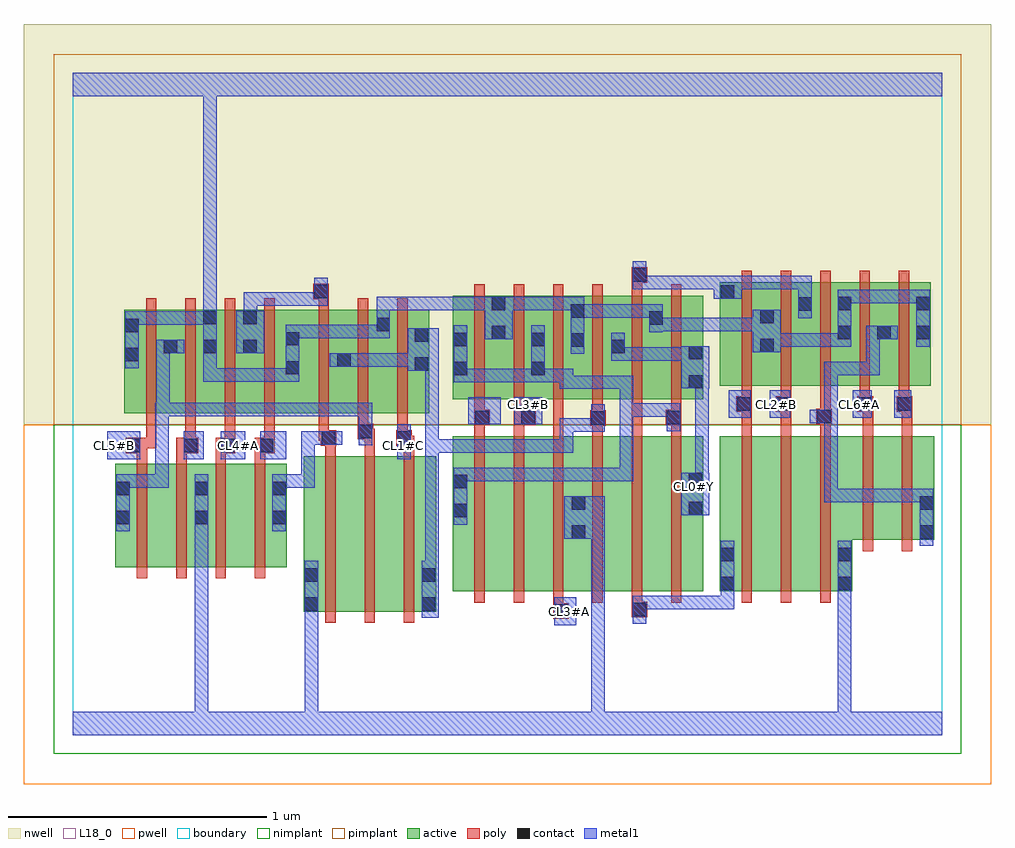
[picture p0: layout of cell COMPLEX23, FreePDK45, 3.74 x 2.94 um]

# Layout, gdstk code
import gdstk
lib = gdstk.Library(unit=1e-6, precision=1e-09)
def R(c, l, rs):  # rectangles x0, y0, x1, y1
    for r in rs: c.add(gdstk.rectangle(r[:2], r[2:], *l))
def A(c, l, x, y, w, h, nx, ny, dx, dy):  # array of equal rectangles
    R(c, l, [(x+i*dx, y+j*dy, x+i*dx+w, y+j*dy+h) for i in range(nx) for j in range(ny)])
active = (1, 0)
pwell = (2, 0)
nwell = (3, 0)
nimplant = (4, 0)
pimplant = (5, 0)
poly = (9, 0)
contact = (10, 0)
metal1 = (11, 0)
L18_0 = (18, 0)
boundary = (235, 0)

complex23 = lib.new_cell('COMPLEX23')
A(complex23, active, 2.8, 1.35, 0.212, 0.4, 3, 1, 0.152, 0)
R(complex23, active, [(0.892,0.478,1.072,1.078), (0.892,0.478,0.952,1.078), (1.072,0.478,1.224,1.078), (1.224,0.478,1.404,1.078), (1.344,0.478,1.404,1.078), (1.468,0.556,1.648,1.156), (1.468,0.556,1.528,1.156), (1.648,0.556,1.8,1.156), (1.8,0.556,1.984,1.156), (1.924,0.556,2.104,1.156), (1.924,0.556,1.984,0.928), (2.104,0.556,2.256,1.156), (2.256,0.556,2.436,1.156), (2.376,0.556,2.436,1.156), (2.5,0.556,2.68,1.156), (2.5,0.556,2.56,1.156), (2.68,0.556,2.832,1.156), (2.832,0.556,3.012,1.156), (2.952,0.556,3.012,0.828), (0.164,0.65,0.344,1.05), (0.344,0.65,0.528,1.05), (0.468,0.65,0.648,1.05), (0.648,0.65,0.828,1.05), (0.164,0.756,0.224,1.05), (0.468,0.756,0.528,0.984), (0.768,0.756,0.828,1.05), (2.952,0.756,3.148,1.156), (3.148,0.756,3.328,1.156), (3.268,0.756,3.328,1.156), (0.2,1.244,0.26,1.644), (0.2,1.244,0.408,1.644), (0.348,1.244,0.56,1.644), (0.5,1.244,0.716,1.644), (0.656,1.244,0.88,1.644), (0.82,1.244,1.078,1.644), (1.018,1.244,1.23,1.644), (1.17,1.244,1.378,1.644), (1.318,1.244,1.378,1.644), (1.468,1.298,1.528,1.698), (1.468,1.298,1.676,1.698), (1.616,1.298,1.828,1.698), (1.768,1.298,1.98,1.698), (1.92,1.298,2.136,1.698), (2.076,1.298,2.284,1.698), (2.224,1.298,2.436,1.698), (2.376,1.298,2.436,1.644), (1.616,1.31,1.676,1.698), (1.92,1.31,1.98,1.698), (2.5,1.35,2.712,1.75), (2.652,1.35,2.86,1.75), (2.952,1.35,3.012,1.75), (3.256,1.35,3.316,1.75), (1.768,1.388,1.828,1.644), (0.82,1.39,0.88,1.644), (2.8,1.4,2.86,1.75), (1.018,1.42,1.078,1.644), (0.348,1.472,0.408,1.644), (0.5,1.472,0.56,1.644), (0.656,1.472,0.716,1.644), (2.076,1.472,2.136,1.644), (2.652,1.476,2.712,1.75), (3.104,1.526,3.164,1.644), (1.17,1.558,1.23,1.644), (2.5,1.572,2.56,1.75), (2.224,1.582,2.284,1.644)])
R(complex23, pwell, [(-0.188,-0.188,3.548,1.2)])
R(complex23, nwell, [(-0.188,1.2,3.548,2.748)])
R(complex23, nimplant, [(-0.072,-0.072,3.432,1.2)])
R(complex23, pimplant, [(-0.072,1.2,3.432,2.632)])
A(complex23, poly, 0.976, 0.434, 0.04, 0.688, 3, 1, 0.152, 0)
A(complex23, poly, 1.552, 0.512, 0.04, 0.688, 6, 1, 0.152, 0)
A(complex23, poly, 2.584, 0.512, 0.04, 0.688, 3, 1, 0.152, 0)
A(complex23, poly, 0.248, 0.606, 0.04, 0.488, 4, 1, 0.152, 0)
A(complex23, poly, 0.248, 1.054, 0.04, 0.076, 4, 1, 0.152, 0)
A(complex23, poly, 0.284, 1.11, 0.04, 0.13, 4, 1, 0.152, 0)
A(complex23, poly, 0.284, 1.2, 0.04, 0.488, 4, 1, 0.152, 0)
A(complex23, poly, 0.95, 1.2, 0.04, 0.488, 3, 1, 0.152, 0)
A(complex23, poly, 1.552, 1.218, 0.04, 0.076, 3, 1, 0.152, 0)
A(complex23, poly, 1.552, 1.254, 0.04, 0.488, 6, 1, 0.152, 0)
A(complex23, poly, 2.584, 1.306, 0.04, 0.488, 5, 1, 0.152, 0)
R(complex23, poly, [(1.856,0.45,1.916,0.51), (2.16,0.456,2.22,0.516), (1.856,0.47,1.896,0.552), (2.16,0.476,2.2,0.552), (3.052,0.712,3.092,1.2), (3.204,0.712,3.244,1.2), (0.976,1.082,1.016,1.158), (1.128,1.082,1.168,1.184), (1.28,1.082,1.32,1.158), (0.206,1.09,0.288,1.15), (0.4,1.09,0.486,1.15), (0.552,1.09,0.628,1.15), (0.704,1.09,0.78,1.15), (0.248,1.11,0.288,1.15), (0.248,1.11,0.324,1.15), (0.436,1.11,0.476,1.15), (0.436,1.11,0.476,1.15), (0.588,1.11,0.628,1.15), (0.588,1.11,0.628,1.15), (0.74,1.11,0.78,1.15), (0.74,1.11,0.78,1.15), (0.958,1.118,1.018,1.178), (1.25,1.118,1.31,1.178), (1.27,1.118,1.31,1.158), (1.27,1.118,1.32,1.158), (0.95,1.138,0.99,1.24), (0.95,1.138,0.998,1.178), (0.958,1.138,0.998,1.178), (1.254,1.138,1.294,1.24), (1.102,1.144,1.162,1.204), (1.122,1.144,1.162,1.184), (1.122,1.144,1.168,1.184), (1.552,1.16,1.592,1.238), (1.704,1.16,1.744,1.238), (1.856,1.16,1.896,1.258), (2.008,1.16,2.048,1.236), (2.16,1.16,2.2,1.258), (2.312,1.16,2.352,1.238), (2.584,1.16,2.624,1.29), (2.736,1.16,2.776,1.29), (2.888,1.16,2.928,1.242), (3.052,1.16,3.092,1.29), (3.204,1.16,3.244,1.29), (1.102,1.164,1.142,1.24), (2,1.196,2.06,1.256), (1.552,1.198,1.592,1.238), (1.552,1.198,1.592,1.238), (1.552,1.198,1.612,1.258), (1.704,1.198,1.744,1.238), (1.704,1.198,1.744,1.238), (1.704,1.198,1.79,1.258), (2.292,1.198,2.352,1.258), (2.312,1.198,2.352,1.238), (2.312,1.198,2.352,1.238), (2.872,1.202,2.932,1.262), (2.008,1.216,2.048,1.256), (2.008,1.216,2.048,1.256), (2.008,1.216,2.048,1.294), (1.856,1.218,1.896,1.258), (1.856,1.218,1.896,1.258), (1.856,1.218,1.896,1.258), (2.16,1.218,2.2,1.294), (2.16,1.218,2.2,1.258), (2.16,1.218,2.2,1.258), (2.16,1.218,2.2,1.258), (2.312,1.218,2.352,1.294), (2.888,1.222,2.928,1.262), (2.888,1.222,2.928,1.262), (2.888,1.222,2.928,1.346), (2.564,1.25,2.624,1.31), (2.584,1.25,2.624,1.29), (2.584,1.25,2.624,1.29), (2.716,1.25,2.776,1.31), (3.032,1.25,3.092,1.31), (3.184,1.25,3.244,1.31), (3.204,1.25,3.244,1.29), (3.204,1.25,3.244,1.29), (2.584,1.27,2.624,1.346), (2.736,1.27,2.776,1.346), (2.736,1.27,2.776,1.31), (2.736,1.27,2.776,1.31), (3.04,1.27,3.08,1.346), (3.04,1.27,3.08,1.31), (3.04,1.27,3.08,1.31), (3.192,1.27,3.232,1.346), (0.95,1.648,0.99,1.724), (0.93,1.684,0.99,1.744), (2.16,1.702,2.2,1.788), (2.16,1.748,2.22,1.808)])
A(complex23, contact, 2.956, 1.53, 0.052, 0.052, 3, 1, 0.152, 0)
R(complex23, contact, [(1.86,0.454,1.912,0.506), (2.164,0.46,2.216,0.512), (0.896,0.482,0.948,0.534), (1.348,0.482,1.4,0.534), (2.504,0.56,2.556,0.612), (2.956,0.56,3.008,0.612), (0.896,0.594,0.948,0.646), (1.348,0.594,1.4,0.646), (2.504,0.672,2.556,0.724), (2.956,0.672,3.008,0.724), (1.928,0.76,1.98,0.812), (3.272,0.76,3.324,0.812), (0.168,0.816,0.22,0.868), (0.472,0.816,0.524,0.868), (0.772,0.816,0.824,0.868), (1.472,0.842,1.524,0.894), (2.38,0.85,2.432,0.902), (1.928,0.872,1.98,0.924), (3.272,0.872,3.324,0.924), (0.168,0.928,0.22,0.98), (0.472,0.928,0.524,0.98), (0.772,0.928,0.824,0.98), (1.472,0.954,1.524,1.006), (2.38,0.962,2.432,1.014), (0.21,1.094,0.262,1.146), (0.43,1.094,0.482,1.146), (0.572,1.094,0.624,1.146), (0.724,1.094,0.776,1.146), (0.962,1.122,1.014,1.174), (1.254,1.122,1.306,1.174), (1.106,1.148,1.158,1.2), (2.004,1.2,2.056,1.252), (1.556,1.202,1.608,1.254), (1.734,1.202,1.786,1.254), (2.296,1.202,2.348,1.254), (2.876,1.206,2.928,1.258), (2.568,1.254,2.62,1.306), (2.72,1.254,2.772,1.306), (3.036,1.254,3.088,1.306), (3.188,1.254,3.24,1.306), (2.38,1.34,2.432,1.392), (1.472,1.392,1.524,1.444), (1.772,1.392,1.824,1.444), (0.824,1.394,0.876,1.446), (1.322,1.408,1.374,1.46), (1.022,1.424,1.074,1.476), (0.204,1.446,0.256,1.498), (2.38,1.452,2.432,1.504), (0.352,1.476,0.404,1.528), (0.504,1.476,0.556,1.528), (0.66,1.476,0.712,1.528), (2.08,1.476,2.132,1.528), (2.656,1.48,2.708,1.532), (1.924,1.502,1.976,1.554), (1.472,1.504,1.524,1.556), (1.772,1.504,1.824,1.556), (0.824,1.506,0.876,1.558), (1.322,1.52,1.374,1.572), (1.62,1.53,1.672,1.582), (0.204,1.558,0.256,1.61), (1.174,1.562,1.226,1.614), (2.228,1.586,2.28,1.638), (0.504,1.588,0.556,1.64), (0.66,1.588,0.712,1.64), (2.656,1.592,2.708,1.644), (1.924,1.614,1.976,1.666), (2.804,1.64,2.856,1.692), (1.62,1.642,1.672,1.694), (2.956,1.642,3.008,1.694), (3.26,1.642,3.312,1.694), (2.504,1.686,2.556,1.738), (0.934,1.688,0.986,1.74), (2.164,1.752,2.216,1.804)])
R(complex23, metal1, [(0,0,3.36,0.092), (0.472,0.04,0.524,0.84), (0.896,0.04,0.948,0.092), (0.896,0.04,0.948,0.092), (0.896,0.04,0.948,0.506), (2.004,0.04,2.056,0.092), (2.004,0.04,2.056,0.092), (2.004,0.04,2.056,0.092), (2.004,0.04,2.056,0.092), (2.004,0.04,2.056,0.092), (2.004,0.04,2.056,0.092), (2.004,0.04,2.056,0.092), (2.004,0.04,2.056,0.092), (2.004,0.04,2.056,0.812), (2.956,0.04,3.008,0.092), (2.956,0.04,3.008,0.092), (2.956,0.04,3.008,0.092), (2.956,0.04,3.008,0.092), (2.956,0.04,3.008,0.584), (1.86,0.426,1.946,0.534), (2.164,0.432,2.216,0.54), (0.896,0.454,0.948,0.506), (0.896,0.454,0.948,0.506), (0.896,0.454,0.948,0.506), (0.896,0.454,0.948,0.506), (0.896,0.454,0.948,0.506), (0.896,0.454,0.948,0.506), (0.896,0.454,0.948,0.674), (1.348,0.454,1.414,0.674), (2.164,0.488,2.28,0.54), (2.228,0.488,2.28,0.54), (2.228,0.488,2.418,0.54), (2.366,0.488,2.418,0.54), (2.366,0.488,2.418,0.54), (2.366,0.488,2.418,0.54), (2.366,0.488,2.556,0.54), (2.504,0.488,2.556,0.54), (2.504,0.488,2.556,0.584), (2.504,0.532,2.556,0.752), (2.956,0.532,3.008,0.584), (2.956,0.532,3.008,0.584), (2.956,0.532,3.008,0.584), (2.956,0.532,3.008,0.584), (2.956,0.532,3.008,0.752), (1.362,0.622,1.414,1.144), (3.272,0.732,3.324,0.952), (1.9,0.76,2.056,0.924), (0.168,0.788,0.22,1.008), (0.472,0.788,0.524,0.84), (0.472,0.788,0.524,0.84), (0.472,0.788,0.524,0.84), (0.472,0.788,0.524,0.84), (0.472,0.788,0.524,0.84), (0.472,0.788,0.524,0.84), (0.472,0.788,0.524,0.84), (0.472,0.788,0.524,0.84), (0.472,0.788,0.524,0.84), (0.472,0.788,0.524,0.84), (0.472,0.788,0.524,0.84), (0.472,0.788,0.524,0.84), (0.472,0.788,0.524,1.008), (0.772,0.788,0.824,1.008), (1.472,0.814,1.524,1.034), (2.352,0.85,2.46,1.014), (2.904,0.9,2.956,0.952), (2.904,0.9,3.116,0.952), (2.904,0.9,2.956,1.258), (3.064,0.9,3.116,0.952), (3.064,0.9,3.118,0.952), (3.066,0.9,3.118,0.952), (3.066,0.9,3.324,0.952), (3.272,0.9,3.324,0.952), (3.272,0.9,3.324,0.952), (0.168,0.956,0.22,1.008), (0.168,0.956,0.22,1.008), (0.168,0.956,0.372,1.008), (0.32,0.956,0.372,1.008), (0.32,0.956,0.372,1.284), (0.772,0.956,0.936,1.008), (0.884,0.956,0.936,1.008), (0.884,0.956,0.936,1.174), (2.406,0.962,2.458,1.014), (2.406,0.962,2.458,1.014), (2.406,0.962,2.458,1.014), (2.406,0.962,2.458,1.014), (2.406,0.962,2.458,1.014), (2.406,0.962,2.458,1.014), (2.406,0.962,2.458,1.014), (2.406,0.962,2.458,1.014), (2.406,0.962,2.458,1.014), (2.406,0.962,2.458,1.014), (2.406,0.962,2.458,1.392), (1.472,0.982,1.526,1.034), (1.474,0.982,1.526,1.034), (1.474,0.982,1.7,1.034), (1.648,0.982,1.7,1.034), (1.648,0.982,1.7,1.034), (1.648,0.982,1.7,1.034), (1.648,0.982,1.81,1.034), (1.758,0.982,1.81,1.034), (1.758,0.982,1.81,1.034), (1.758,0.982,1.81,1.034), (1.758,0.982,2.022,1.034), (1.97,0.982,2.022,1.034), (1.97,0.982,2.056,1.034), (2.004,0.982,2.056,1.034), (2.004,0.982,2.166,1.034), (2.114,0.982,2.166,1.034), (2.114,0.982,2.166,1.282), (0.134,1.066,0.262,1.174), (0.43,1.066,0.506,1.174), (0.572,1.066,0.666,1.174), (0.724,1.066,0.826,1.174), (1.254,1.066,1.306,1.202), (1.362,1.092,1.414,1.144), (1.362,1.092,1.414,1.144), (1.362,1.092,1.416,1.144), (1.362,1.092,1.414,1.46), (1.364,1.092,1.416,1.144), (1.364,1.092,1.416,1.144), (1.364,1.092,1.526,1.144), (1.474,1.092,1.526,1.144), (1.474,1.092,1.7,1.144), (1.648,1.092,1.7,1.144), (1.648,1.092,1.7,1.144), (1.648,1.092,1.7,1.144), (1.648,1.092,1.81,1.144), (1.758,1.092,1.81,1.144), (1.758,1.092,1.934,1.144), (1.882,1.092,1.934,1.144), (1.882,1.092,1.934,1.144), (1.882,1.092,1.934,1.224), (1.106,1.12,1.158,1.284), (0.884,1.122,0.936,1.174), (0.884,1.122,0.986,1.174), (0.934,1.122,1.042,1.174), (1.882,1.172,2.056,1.224), (2.004,1.172,2.056,1.28), (2.296,1.174,2.348,1.282), (1.528,1.202,1.654,1.306), (1.706,1.202,1.814,1.306), (2.848,1.206,2.956,1.258), (2.904,1.206,2.956,1.258), (2.904,1.206,2.956,1.258), (2.904,1.206,2.956,1.444), (2.534,1.226,2.62,1.334), (2.694,1.226,2.772,1.334), (3.014,1.226,3.088,1.334), (3.174,1.226,3.24,1.334), (2.114,1.23,2.166,1.282), (2.114,1.23,2.166,1.282), (2.114,1.23,2.166,1.282), (2.114,1.23,2.166,1.282), (2.114,1.23,2.28,1.282), (2.114,1.23,2.166,1.39), (2.228,1.23,2.28,1.282), (2.228,1.23,2.348,1.282), (0.32,1.232,0.372,1.284), (0.32,1.232,0.372,1.284), (0.32,1.232,0.376,1.284), (0.324,1.232,0.376,1.284), (0.324,1.232,0.376,1.284), (0.324,1.232,0.486,1.284), (0.324,1.232,0.376,1.528), (0.434,1.232,0.486,1.284), (0.434,1.232,0.486,1.284), (0.434,1.232,0.486,1.284), (0.434,1.232,0.696,1.284), (0.644,1.232,0.696,1.284), (0.644,1.232,0.696,1.284), (0.644,1.232,0.696,1.284), (0.644,1.232,0.824,1.284), (0.772,1.232,0.824,1.284), (0.772,1.232,0.906,1.284), (0.854,1.232,0.906,1.284), (0.854,1.232,0.992,1.284), (0.94,1.232,0.992,1.284), (0.94,1.232,1.116,1.284), (1.064,1.232,1.116,1.284), (1.064,1.232,1.158,1.284), (1.882,1.338,1.934,1.39), (1.882,1.338,2.056,1.39), (1.882,1.338,1.934,1.416), (2.004,1.338,2.056,1.39), (2.004,1.338,2.166,1.39), (2.352,1.34,2.46,1.504), (1.472,1.364,1.524,1.584), (1.472,1.364,1.526,1.416), (1.474,1.364,1.526,1.416), (1.474,1.364,1.7,1.416), (1.648,1.364,1.7,1.416), (1.648,1.364,1.7,1.416), (1.648,1.364,1.7,1.416), (1.648,1.364,1.824,1.416), (1.772,1.364,1.824,1.416), (1.772,1.364,1.824,1.416), (1.772,1.364,1.824,1.584), (1.772,1.364,1.934,1.416), (1.882,1.364,1.934,1.416), (0.504,1.366,0.556,1.418), (0.504,1.366,0.556,1.418), (0.504,1.366,0.556,1.418), (0.504,1.366,0.714,1.418), (0.504,1.366,0.556,1.5), (0.662,1.366,0.714,1.418), (0.662,1.366,0.714,1.418), (0.662,1.366,0.714,1.418), (0.662,1.366,0.876,1.418), (0.824,1.366,0.876,1.586), (2.904,1.392,2.956,1.444), (2.904,1.392,3.116,1.444), (3.064,1.392,3.116,1.444), (3.064,1.392,3.118,1.444), (3.066,1.392,3.118,1.444), (3.066,1.392,3.118,1.582), (1.294,1.408,1.414,1.572), (0.204,1.418,0.256,1.638), (0.994,1.424,1.102,1.476), (1.05,1.424,1.102,1.476), (1.05,1.424,1.102,1.476), (1.05,1.424,1.226,1.476), (1.174,1.424,1.226,1.476), (1.174,1.424,1.226,1.476), (1.174,1.424,1.226,1.476), (1.174,1.424,1.346,1.476), (0.504,1.448,0.556,1.668), (2.08,1.448,2.132,1.556), (2.08,1.448,2.2,1.5), (2.148,1.448,2.2,1.5), (2.148,1.448,2.28,1.5), (2.228,1.448,2.28,1.5), (2.228,1.448,2.404,1.5), (2.352,1.448,2.404,1.5), (2.352,1.448,2.404,1.5), (1.924,1.474,1.976,1.694), (0.324,1.476,0.432,1.528), (0.632,1.476,0.74,1.64), (2.628,1.48,2.736,1.644), (2.684,1.502,2.736,1.554), (2.684,1.502,2.736,1.554), (2.684,1.502,2.846,1.554), (2.794,1.502,2.846,1.554), (2.794,1.502,2.846,1.554), (2.794,1.502,2.846,1.554), (2.794,1.502,3.008,1.554), (2.956,1.502,3.008,1.722), (3.26,1.502,3.312,1.722), (1.592,1.53,1.7,1.694), (3.066,1.53,3.188,1.582), (0.824,1.534,0.876,1.586), (0.824,1.534,0.876,1.586), (0.824,1.534,0.992,1.586), (0.94,1.534,0.992,1.586), (0.94,1.534,1.102,1.586), (1.05,1.534,1.102,1.586), (1.05,1.534,1.102,1.586), (1.05,1.534,1.102,1.586), (1.05,1.534,1.226,1.586), (1.174,1.534,1.226,1.642), (2.228,1.558,2.28,1.666), (2.228,1.562,2.418,1.614), (2.366,1.562,2.418,1.614), (2.366,1.562,2.418,1.614), (2.366,1.562,2.418,1.614), (2.366,1.562,2.57,1.614), (2.518,1.562,2.57,1.614), (2.518,1.562,2.57,1.614), (2.518,1.562,2.57,1.614), (2.518,1.562,2.68,1.614), (0.204,1.586,0.256,1.638), (0.204,1.586,0.256,1.638), (0.204,1.586,0.372,1.638), (0.32,1.586,0.372,1.638), (0.32,1.586,0.372,1.638), (0.32,1.586,0.372,1.638), (0.32,1.586,0.556,1.638), (0.662,1.588,0.714,1.712), (1.174,1.59,1.226,1.642), (1.174,1.59,1.226,1.694), (2.804,1.612,2.856,1.72), (1.924,1.614,2.056,1.666), (2.004,1.614,2.056,1.666), (2.004,1.614,2.166,1.666), (2.114,1.614,2.166,1.666), (2.114,1.614,2.166,1.666), (2.114,1.614,2.166,1.666), (2.114,1.614,2.28,1.666), (0.504,1.616,0.556,1.668), (0.504,1.616,0.556,1.668), (0.504,1.616,0.556,1.668), (0.504,1.616,0.556,1.668), (0.504,1.616,0.556,2.52), (1.174,1.642,1.416,1.694), (1.364,1.642,1.416,1.694), (1.364,1.642,1.416,1.694), (1.364,1.642,1.416,1.694), (1.364,1.642,1.526,1.694), (1.474,1.642,1.526,1.694), (1.474,1.642,1.644,1.694), (1.648,1.642,1.7,1.694), (1.648,1.642,1.7,1.694), (1.648,1.642,1.81,1.694), (1.758,1.642,1.81,1.694), (1.758,1.642,1.81,1.694), (1.758,1.642,1.81,1.694), (1.758,1.642,1.976,1.694), (0.662,1.66,0.714,1.712), (0.662,1.66,0.714,1.712), (0.662,1.66,0.714,1.712), (0.662,1.66,0.876,1.712), (0.824,1.66,0.876,1.712), (0.824,1.66,0.882,1.712), (0.83,1.66,0.882,1.712), (0.83,1.66,0.986,1.712), (0.934,1.66,0.986,1.768), (2.804,1.668,2.856,1.776), (2.956,1.67,3.066,1.722), (3.014,1.67,3.066,1.722), (3.014,1.67,3.118,1.722), (3.066,1.67,3.118,1.722), (3.066,1.67,3.312,1.722), (3.26,1.67,3.312,1.722), (3.26,1.67,3.312,1.722), (2.476,1.686,2.584,1.738), (2.518,1.686,2.57,1.776), (2.164,1.724,2.216,1.832), (2.164,1.724,2.28,1.776), (2.228,1.724,2.28,1.776), (2.228,1.724,2.39,1.776), (2.338,1.724,2.39,1.776), (2.338,1.724,2.39,1.776), (2.338,1.724,2.39,1.776), (2.338,1.724,2.57,1.776), (2.518,1.724,2.57,1.776), (2.518,1.724,2.57,1.776), (2.518,1.724,2.57,1.776), (2.518,1.724,2.736,1.776), (2.684,1.724,2.736,1.776), (2.684,1.724,2.736,1.776), (2.684,1.724,2.736,1.776), (2.684,1.724,2.856,1.776), (2.804,1.724,2.856,1.776), (0,2.468,3.36,2.56), (0.504,2.468,0.556,2.52), (0.504,2.468,0.556,2.52), (0.504,2.468,0.556,2.52), (0.504,2.468,0.556,2.52), (0.504,2.468,0.556,2.52), (0.504,2.468,0.556,2.52), (0.504,2.468,0.556,2.52), (0.504,2.468,0.556,2.52), (0.504,2.468,0.556,2.52), (0.504,2.468,0.556,2.52), (0.504,2.468,0.556,2.52), (0.504,2.468,0.556,2.52)])
A(complex23, L18_0, 0.454, 1.094, 0.052, 0.052, 3, 1, 0.16, 0)
R(complex23, L18_0, [(0,0,3.36,0.092), (0.472,0.04,0.524,0.84), (0.896,0.04,0.948,0.092), (0.896,0.04,0.948,0.092), (0.896,0.04,0.948,0.506), (2.004,0.04,2.056,0.092), (2.004,0.04,2.056,0.092), (2.004,0.04,2.056,0.092), (2.004,0.04,2.056,0.092), (2.004,0.04,2.056,0.092), (2.004,0.04,2.056,0.092), (2.004,0.04,2.056,0.092), (2.004,0.04,2.056,0.092), (2.004,0.04,2.056,0.812), (2.956,0.04,3.008,0.092), (2.956,0.04,3.008,0.092), (2.956,0.04,3.008,0.092), (2.956,0.04,3.008,0.092), (2.956,0.04,3.008,0.584), (1.86,0.426,1.946,0.534), (0.896,0.454,0.948,0.674), (0.896,0.454,0.948,0.506), (0.896,0.454,0.948,0.506), (0.896,0.454,0.948,0.506), (0.896,0.454,0.948,0.506), (0.896,0.454,0.948,0.506), (0.896,0.454,0.948,0.506), (1.894,0.454,1.946,0.506), (2.956,0.532,3.008,0.752), (2.956,0.532,3.008,0.584), (2.956,0.532,3.008,0.584), (2.956,0.532,3.008,0.584), (2.956,0.532,3.008,0.584), (1.9,0.76,2.056,0.924), (0.472,0.788,0.524,1.008), (0.472,0.788,0.524,0.84), (0.472,0.788,0.524,0.84), (0.472,0.788,0.524,0.84), (0.472,0.788,0.524,0.84), (0.472,0.788,0.524,0.84), (0.472,0.788,0.524,0.84), (0.472,0.788,0.524,0.84), (0.472,0.788,0.524,0.84), (0.472,0.788,0.524,0.84), (0.472,0.788,0.524,0.84), (0.472,0.788,0.524,0.84), (0.472,0.788,0.524,0.84), (2.352,0.85,2.46,1.014), (2.374,0.934,2.426,0.986), (2.406,0.962,2.458,1.014), (2.406,0.962,2.458,1.014), (2.406,0.962,2.458,1.014), (2.406,0.962,2.458,1.014), (2.406,0.962,2.458,1.014), (2.406,0.962,2.458,1.014), (2.406,0.962,2.458,1.014), (2.406,0.962,2.458,1.014), (2.406,0.962,2.458,1.014), (2.406,0.962,2.458,1.014), (2.406,0.962,2.458,1.392), (0.134,1.066,0.262,1.174), (0.43,1.066,0.506,1.174), (0.572,1.066,0.666,1.174), (0.724,1.066,0.826,1.174), (1.254,1.066,1.306,1.202), (0.134,1.094,0.186,1.146), (1.254,1.094,1.306,1.146), (1.528,1.202,1.654,1.306), (1.706,1.202,1.814,1.306), (2.534,1.226,2.62,1.334), (2.694,1.226,2.772,1.334), (3.014,1.226,3.088,1.334), (3.174,1.226,3.24,1.334), (1.574,1.254,1.626,1.306), (1.734,1.254,1.786,1.306), (2.534,1.254,2.586,1.306), (2.694,1.254,2.746,1.306), (3.014,1.254,3.066,1.306), (3.174,1.254,3.226,1.306), (2.352,1.34,2.46,1.504), (0.504,1.366,0.556,1.418), (0.504,1.366,0.556,1.418), (0.504,1.366,0.556,1.418), (0.504,1.366,0.556,1.5), (0.504,1.366,0.714,1.418), (0.662,1.366,0.714,1.418), (0.662,1.366,0.714,1.418), (0.662,1.366,0.714,1.418), (0.662,1.366,0.876,1.418), (0.824,1.366,0.876,1.586), (0.204,1.418,0.256,1.638), (0.504,1.448,0.556,1.668), (2.08,1.448,2.132,1.556), (2.08,1.448,2.2,1.5), (2.148,1.448,2.2,1.5), (2.148,1.448,2.28,1.5), (2.228,1.448,2.28,1.5), (2.228,1.448,2.404,1.5), (2.352,1.448,2.404,1.5), (2.352,1.448,2.404,1.5), (1.924,1.474,1.976,1.694), (2.628,1.48,2.736,1.644), (2.684,1.502,2.736,1.554), (2.684,1.502,2.736,1.554), (2.684,1.502,2.846,1.554), (2.794,1.502,2.846,1.554), (2.794,1.502,2.846,1.554), (2.794,1.502,2.846,1.554), (2.794,1.502,3.008,1.554), (2.956,1.502,3.008,1.722), (3.26,1.502,3.312,1.722), (1.592,1.53,1.7,1.694), (0.824,1.534,0.876,1.586), (0.824,1.534,0.876,1.586), (0.824,1.534,0.992,1.586), (0.94,1.534,0.992,1.586), (0.94,1.534,1.102,1.586), (1.05,1.534,1.102,1.586), (1.05,1.534,1.102,1.586), (1.05,1.534,1.102,1.586), (1.05,1.534,1.226,1.586), (1.174,1.534,1.226,1.642), (2.228,1.558,2.28,1.666), (2.228,1.562,2.418,1.614), (2.366,1.562,2.418,1.614), (2.366,1.562,2.418,1.614), (2.366,1.562,2.418,1.614), (2.366,1.562,2.57,1.614), (2.518,1.562,2.57,1.614), (2.518,1.562,2.57,1.614), (2.518,1.562,2.57,1.614), (2.518,1.562,2.68,1.614), (0.204,1.586,0.256,1.638), (0.204,1.586,0.256,1.638), (0.204,1.586,0.372,1.638), (0.32,1.586,0.372,1.638), (0.32,1.586,0.372,1.638), (0.32,1.586,0.372,1.638), (0.32,1.586,0.556,1.638), (1.174,1.59,1.226,1.642), (1.174,1.59,1.226,1.694), (1.924,1.614,2.056,1.666), (2.004,1.614,2.056,1.666), (2.004,1.614,2.166,1.666), (2.114,1.614,2.166,1.666), (2.114,1.614,2.166,1.666), (2.114,1.614,2.166,1.666), (2.114,1.614,2.28,1.666), (0.504,1.616,0.556,1.668), (0.504,1.616,0.556,1.668), (0.504,1.616,0.556,1.668), (0.504,1.616,0.556,1.668), (0.504,1.616,0.556,2.52), (1.174,1.642,1.416,1.694), (1.364,1.642,1.416,1.694), (1.364,1.642,1.416,1.694), (1.364,1.642,1.416,1.694), (1.364,1.642,1.526,1.694), (1.474,1.642,1.526,1.694), (1.474,1.642,1.644,1.694), (1.648,1.642,1.7,1.694), (1.648,1.642,1.7,1.694), (1.648,1.642,1.81,1.694), (1.758,1.642,1.81,1.694), (1.758,1.642,1.81,1.694), (1.758,1.642,1.81,1.694), (1.758,1.642,1.976,1.694), (2.956,1.67,3.066,1.722), (3.014,1.67,3.066,1.722), (3.014,1.67,3.118,1.722), (3.066,1.67,3.118,1.722), (3.066,1.67,3.312,1.722), (3.26,1.67,3.312,1.722), (3.26,1.67,3.312,1.722), (0,2.468,3.36,2.56), (0.504,2.468,0.556,2.52), (0.504,2.468,0.556,2.52), (0.504,2.468,0.556,2.52), (0.504,2.468,0.556,2.52), (0.504,2.468,0.556,2.52), (0.504,2.468,0.556,2.52), (0.504,2.468,0.556,2.52), (0.504,2.468,0.556,2.52), (0.504,2.468,0.556,2.52), (0.504,2.468,0.556,2.52), (0.504,2.468,0.556,2.52), (0.504,2.468,0.556,2.52)])
R(complex23, boundary, [(0,0,3.36,2.56)])
complex23.add(gdstk.Label('CL0#Y', (2.4,0.96), layer=11, texttype=0))
complex23.add(gdstk.Label('CL1#C', (1.28,1.12), layer=11, texttype=0))
complex23.add(gdstk.Label('CL2#B', (2.72,1.28), layer=11, texttype=0))
complex23.add(gdstk.Label('CL2#C', (2.56,1.28), layer=11, texttype=0))
complex23.add(gdstk.Label('CL3#A', (1.92,0.48), layer=11, texttype=0))
complex23.add(gdstk.Label('CL3#B', (1.76,1.28), layer=11, texttype=0))
complex23.add(gdstk.Label('CL3#C', (1.6,1.28), layer=11, texttype=0))
complex23.add(gdstk.Label('CL4#A', (0.64,1.12), layer=11, texttype=0))
complex23.add(gdstk.Label('CL4#B', (0.8,1.12), layer=11, texttype=0))
complex23.add(gdstk.Label('CL5#A', (0.48,1.12), layer=11, texttype=0))
complex23.add(gdstk.Label('CL5#B', (0.16,1.12), layer=11, texttype=0))
complex23.add(gdstk.Label('CL6#A', (3.04,1.28), layer=11, texttype=0))
complex23.add(gdstk.Label('CL6#B', (3.2,1.28), layer=11, texttype=0))

lib.write_gds('COMPLEX23.gds')
